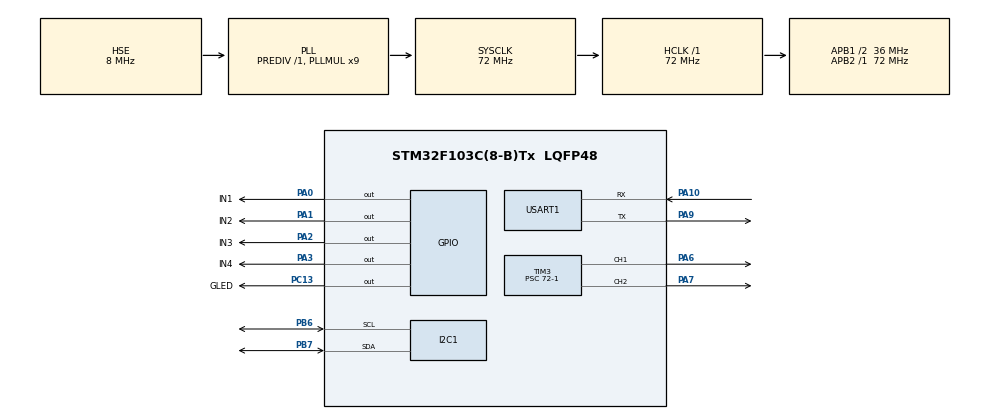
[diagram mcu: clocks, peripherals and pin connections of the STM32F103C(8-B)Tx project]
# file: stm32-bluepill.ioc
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Mcu.Family=STM32F1
Mcu.Name=STM32F103C(8-B)Tx
Mcu.Package=LQFP48
NVIC.PriorityGroup=NVIC_PRIORITYGROUP_4
NVIC.TIM4_IRQn=true\:0\:0\:false\:false\:true\:true\:true\:true
PA0-WKUP.GPIO_Label=IN1
PA0-WKUP.Signal=GPIO_Output
PA1.GPIO_Label=IN2
PA1.Signal=GPIO_Output
PA10.Mode=Asynchronous
PA10.Signal=USART1_RX
PA13.Mode=Serial_Wire
PA13.Signal=SYS_JTMS-SWDIO
PA14.Mode=Serial_Wire
PA14.Signal=SYS_JTCK-SWCLK
PA2.GPIO_Label=IN3
PA2.Signal=GPIO_Output
PA3.GPIO_Label=IN4
PA3.Signal=GPIO_Output
PA6.Signal=S_TIM3_CH1
PA7.Signal=S_TIM3_CH2
PA9.Mode=Asynchronous
PA9.Signal=USART1_TX
PB6.Mode=I2C
PB6.Signal=I2C1_SCL
PB7.Mode=I2C
PB7.Signal=I2C1_SDA
PC13-TAMPER-RTC.GPIO_Label=GLED
PC13-TAMPER-RTC.Signal=GPIO_Output
PD0-OSC_IN.Mode=HSE-External-Oscillator
PD0-OSC_IN.Signal=RCC_OSC_IN
PD1-OSC_OUT.Mode=HSE-External-Oscillator
PD1-OSC_OUT.Signal=RCC_OSC_OUT
ProjectManager.HeapSize=0x200
ProjectManager.StackSize=0x400
ProjectManager.TargetToolchain=MDK-ARM V5.32
RCC.AHBFreq_Value=72000000
RCC.APB1CLKDivider=RCC_HCLK_DIV2
RCC.APB1Freq_Value=36000000
RCC.APB1TimFreq_Value=72000000
RCC.APB2Freq_Value=72000000
RCC.APB2TimFreq_Value=72000000
RCC.HCLKFreq_Value=72000000
RCC.PLLMUL=RCC_PLL_MUL9
RCC.PLLSourceVirtual=RCC_PLLSOURCE_HSE
RCC.SYSCLKFreq_VALUE=72000000
RCC.SYSCLKSource=RCC_SYSCLKSOURCE_PLLCLK
RCC.USBFreq_Value=72000000
SH.S_TIM3_CH1.0=TIM3_CH1,PWM Generation1 CH1
SH.S_TIM3_CH2.0=TIM3_CH2,PWM Generation2 CH2
TIM3.Channel-PWM\ Generation1\ CH1=TIM_CHANNEL_1
TIM3.Channel-PWM\ Generation2\ CH2=TIM_CHANNEL_2
TIM3.Period=1000-1
TIM3.Prescaler=72-1
TIM4.Period=100-1
TIM4.Prescaler=7200-1
USART1.VirtualMode=VM_ASYNC
VP_TIM3_VS_ClockSourceINT.Mode=Internal
VP_TIM4_VS_ClockSourceINT.Mode=Internal
board=custom

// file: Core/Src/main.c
/* USER CODE BEGIN Header */
/**
  ******************************************************************************
  * @file           : main.c
  * @brief          : Main program body
  ******************************************************************************
  * @attention
  *
  * Copyright (c) 2026 STMicroelectronics.
  * All rights reserved.
  *
  * This software is licensed under terms that can be found in the LICENSE file
  * in the root directory of this software component.
  * If no LICENSE file comes with this software, it is provided AS-IS.
  *
  ******************************************************************************
  */
/* USER CODE END Header */
#include "main.h"

/* USER CODE BEGIN Includes */
#include "stdio.h"
#include "mpu6050.h"
#include "string.h"
#include "motor.h"
#include "math.h"
/* USER CODE END Includes */

/* USER CODE BEGIN PTD */

#define MAX_CONTROL_ANG			30.0f
#define SET_POINT						0.0f
#define MOTOR_LIMIT 				800
#define MAX_INTEGRAL				200.0f
#define PI 									3.14159265358979323846f

/* USER CODE END PTD */

I2C_HandleTypeDef hi2c1;

TIM_HandleTypeDef htim3;
TIM_HandleTypeDef htim4;

UART_HandleTypeDef huart1;

/* USER CODE BEGIN PV */

MPU6050_t mpu_data;
uint8_t f=0;
float dt = 0.01;

float error;
float u;
float Kp = 30.0f;
float Kd = 3.0;
float Ki = 5.0f;
float integral = 0.0f;

float Ku = 70.0f;
float omega_raw, omega_f;

float Kmpc[2] = {-16.4957, -2.0501};

float du, u_prev=0;
float Kmpc_aug[3] = {-9.8669, -1.8597, 0.8438};

float Kql[3] = {-46.1124,  -2.70406};
/* USER CODE END PV */

void SystemClock_Config(void);
static void MX_GPIO_Init(void);
static void MX_I2C1_Init(void);
static void MX_TIM3_Init(void);
static void MX_USART1_UART_Init(void);
static void MX_TIM4_Init(void);

/* USER CODE BEGIN 0 */

// printf Re-Director Beginsecffgty6
FILE __stdout;
int fputc(int ch, FILE *f){
	HAL_UART_Transmit(&huart1, (uint8_t *)&ch, 1, HAL_MAX_DELAY);
  return ch;
}
// printf Re-Director End

void HAL_TIM_PeriodElapsedCallback(TIM_HandleTypeDef *htim)
{
	if(htim->Instance == TIM4)
	{
		f = 1;
	}
}

/* USER CODE END 0 */

int main(void)
{

  /* MCU Configuration--------------------------------------------------------*/

  /* Reset of all peripherals, Initializes the Flash interface and the Systick. */
  HAL_Init();

  /* Configure the system clock */
  SystemClock_Config();

  /* Initialize all configured peripherals */
  MX_GPIO_Init();
  MX_I2C1_Init();
  MX_TIM3_Init();
  MX_USART1_UART_Init();
  MX_TIM4_Init();
  /* USER CODE BEGIN 2 */

	if(MPU6050_Init(&hi2c1))
	{
		HAL_GPIO_WritePin(GLED_GPIO_Port, GLED_Pin, GPIO_PIN_RESET);
		printf("MPU6050 Successfully Initialized!\r\n");
		HAL_Delay(1000);
		HAL_GPIO_WritePin(GLED_GPIO_Port, GLED_Pin, GPIO_PIN_SET);
		HAL_Delay(1000);
	}else
	{
		printf("MPU6050 Not Initialized!\r\n");
		Error_Handler();
	}
	HAL_Delay(100);

	HAL_GPIO_WritePin(GLED_GPIO_Port, GLED_Pin, GPIO_PIN_RESET);
	printf("Keep sensor still!... calibrating gyro!!\r\n");
	MPU6050_Calibrate_Gyro(&hi2c1, &mpu_data);
	printf("Gyro calibration completed!...Gx_Offset:%.2f\r\n", mpu_data.Gx_offset);

	MPU6050_Read_All(&hi2c1, &mpu_data);
	MPU6050_ComputePitch(&hi2c1, &mpu_data, dt);

	mpu_data.pitch = mpu_data.pitch_acc;
	printf("Inital Pitch:%.2f, Initial Pitch_Accel:%.2f, Gx:%.2f\r\n", mpu_data.pitch, mpu_data.pitch_acc, mpu_data.Gx);

	HAL_Delay(1000);
	HAL_GPIO_WritePin(GLED_GPIO_Port, GLED_Pin, GPIO_PIN_SET);
	HAL_Delay(1000);

	HAL_GPIO_WritePin(GLED_GPIO_Port, GLED_Pin, GPIO_PIN_RESET);
	printf("Keep sensor upright!...calibrating pitch!!\r\n");
	HAL_Delay(3000);
	MPU6050_Calculate_PitchOffset(&hi2c1, &mpu_data);
	printf("Pitch calibration comleted!...Pitch_Offset:%.2f\r\n", mpu_data.pitch_offset);

	HAL_GPIO_WritePin(GLED_GPIO_Port, GLED_Pin, GPIO_PIN_SET);

	HAL_TIM_Base_Start_IT(&htim4);
	Motor_Init();

//	// I2C Device Address Check Begin
//	for(uint8_t i = 1; i < 128; i++)
//		{
//				if(HAL_I2C_IsDeviceReady(&hi2c1, i << 1, 2, 100) == HAL_OK)
//				{
//						printf("Device found at 0x%02X\r\n", i);
//				}
//		}
//	// I2C Device Address Check End

	 uint8_t i = 0;
  /* USER CODE END 2 */

  /* Infinite loop */
  /* USER CODE BEGIN WHILE */
  while (1)
  {
		if(f)
		{
			f = 0;
			MPU6050_Read_All(&hi2c1, &mpu_data);

		//		printf("Ax:%.2f, Ay:%.2f, Az:%.2f, Gx:%.2f, Gy:%.2f, Gz:%.2f\r\n", mpu_data.Ax, mpu_data.Ay, mpu_data.Az,
		//						mpu_data.Gx, mpu_data.Gy, mpu_data.Gz);

			MPU6050_ComputePitch(&hi2c1, &mpu_data, dt);

			if(fabs(mpu_data.pitch) > 30.0f)
			{
				Motor_StopAll();
				u = 0;
				omega_raw = mpu_data.Gx * PI/180.0f;
			}else
			{
				error = (SET_POINT + mpu_data.pitch_offset) - (mpu_data.pitch);

				integral += error * dt;
				if(integral < -MAX_INTEGRAL) integral = -MAX_INTEGRAL;
				if(integral > MAX_INTEGRAL)  integral =  MAX_INTEGRAL;

				if(fabsf(error) < 1.5f)
				{
					Motor_StopAll();
					u = 0;
					omega_raw = mpu_data.Gx * PI/180.0f;
				}else
				{
//				// PID Controller
//					u = Kp * error
//					  + Kd * mpu_data.Gx
//					  + Ki * integral;

				 // LQR Controller
//					omega_raw = mpu_data.Gx * PI/180.0f;
//
//					u = Ku *(- 28.4811 * (((mpu_data.pitch-mpu_data.pitch_offset)*PI/180.0f))
//										+ 3.6417  * omega_raw);

					// MPC Controller
//					u =  Kmpc[0]*mpu_data.pitch
//						-  Kmpc[1]*mpu_data.Gx;

					// Augmented MPC Controller
//					du = -(Kmpc_aug[0] * mpu_data.pitch
//					   - Kmpc_aug[1] * mpu_data.Gx
//					   + Kmpc_aug[2] * u_prev);
//
//					u = -(du + u_prev);
//					u_prev = u;

					// Simple Q-Learning Controller
					u =  Kql[0]*mpu_data.pitch
						-  Kql[1]*mpu_data.Gx;

					if(u > MOTOR_LIMIT) u = MOTOR_LIMIT;
					if(u < -MOTOR_LIMIT) u = -MOTOR_LIMIT;

					Motor_SetLeft(-u);
					Motor_SetRight(-u);
				}
			}

			if(i==10)
			{
				i = 0;
//				printf("Pitch:%.2f, error:%.2f, integral:%.2f, u:%.2f\r\n", (mpu_data.pitch-mpu_data.pitch_offset), error, integral, u);
				printf("Pitch:%.2f, error:%.2f, Gx:%.2f, u:%.2f\r\n", (mpu_data.pitch-mpu_data.pitch_offset), error, mpu_data.Gx, u);
			}

			i++;
		}

    /* USER CODE END WHILE */

  }
}

void SystemClock_Config(void)
{
  RCC_OscInitTypeDef RCC_OscInitStruct = {0};
  RCC_ClkInitTypeDef RCC_ClkInitStruct = {0};

  /** Initializes the RCC Oscillators according to the specified parameters
  * in the RCC_OscInitTypeDef structure.
  */
  RCC_OscInitStruct.OscillatorType = RCC_OSCILLATORTYPE_HSE;
  RCC_OscInitStruct.HSEState = RCC_HSE_ON;
  RCC_OscInitStruct.HSEPredivValue = RCC_HSE_PREDIV_DIV1;
  RCC_OscInitStruct.HSIState = RCC_HSI_ON;
  RCC_OscInitStruct.PLL.PLLState = RCC_PLL_ON;
  RCC_OscInitStruct.PLL.PLLSource = RCC_PLLSOURCE_HSE;
  RCC_OscInitStruct.PLL.PLLMUL = RCC_PLL_MUL9;
  if (HAL_RCC_OscConfig(&RCC_OscInitStruct) != HAL_OK)
  {
    Error_Handler();
  }

  /** Initializes the CPU, AHB and APB buses clocks
  */
  RCC_ClkInitStruct.ClockType = RCC_CLOCKTYPE_HCLK|RCC_CLOCKTYPE_SYSCLK
                              |RCC_CLOCKTYPE_PCLK1|RCC_CLOCKTYPE_PCLK2;
  RCC_ClkInitStruct.SYSCLKSource = RCC_SYSCLKSOURCE_PLLCLK;
  RCC_ClkInitStruct.AHBCLKDivider = RCC_SYSCLK_DIV1;
  RCC_ClkInitStruct.APB1CLKDivider = RCC_HCLK_DIV2;
  RCC_ClkInitStruct.APB2CLKDivider = RCC_HCLK_DIV1;

  if (HAL_RCC_ClockConfig(&RCC_ClkInitStruct, FLASH_LATENCY_2) != HAL_OK)
  {
    Error_Handler();
  }
}

static void MX_I2C1_Init(void)
{

  hi2c1.Instance = I2C1;
  hi2c1.Init.ClockSpeed = 100000;
  hi2c1.Init.DutyCycle = I2C_DUTYCYCLE_2;
  hi2c1.Init.OwnAddress1 = 0;
  hi2c1.Init.AddressingMode = I2C_ADDRESSINGMODE_7BIT;
  hi2c1.Init.DualAddressMode = I2C_DUALADDRESS_DISABLE;
  hi2c1.Init.OwnAddress2 = 0;
  hi2c1.Init.GeneralCallMode = I2C_GENERALCALL_DISABLE;
  hi2c1.Init.NoStretchMode = I2C_NOSTRETCH_DISABLE;
  if (HAL_I2C_Init(&hi2c1) != HAL_OK)
  {
    Error_Handler();
  }

}

static void MX_TIM3_Init(void)
{

  TIM_ClockConfigTypeDef sClockSourceConfig = {0};
  TIM_MasterConfigTypeDef sMasterConfig = {0};
  TIM_OC_InitTypeDef sConfigOC = {0};

  htim3.Instance = TIM3;
  htim3.Init.Prescaler = 72-1;
  htim3.Init.CounterMode = TIM_COUNTERMODE_UP;
  htim3.Init.Period = 1000-1;
  htim3.Init.ClockDivision = TIM_CLOCKDIVISION_DIV1;
  htim3.Init.AutoReloadPreload = TIM_AUTORELOAD_PRELOAD_DISABLE;
  if (HAL_TIM_Base_Init(&htim3) != HAL_OK)
  {
    Error_Handler();
  }
  sClockSourceConfig.ClockSource = TIM_CLOCKSOURCE_INTERNAL;
  if (HAL_TIM_ConfigClockSource(&htim3, &sClockSourceConfig) != HAL_OK)
  {
    Error_Handler();
  }
  if (HAL_TIM_PWM_Init(&htim3) != HAL_OK)
  {
    Error_Handler();
  }
  sMasterConfig.MasterOutputTrigger = TIM_TRGO_RESET;
  sMasterConfig.MasterSlaveMode = TIM_MASTERSLAVEMODE_DISABLE;
  if (HAL_TIMEx_MasterConfigSynchronization(&htim3, &sMasterConfig) != HAL_OK)
  {
    Error_Handler();
  }
  sConfigOC.OCMode = TIM_OCMODE_PWM1;
  sConfigOC.Pulse = 0;
  sConfigOC.OCPolarity = TIM_OCPOLARITY_HIGH;
  sConfigOC.OCFastMode = TIM_OCFAST_DISABLE;
  if (HAL_TIM_PWM_ConfigChannel(&htim3, &sConfigOC, TIM_CHANNEL_1) != HAL_OK)
  {
    Error_Handler();
  }
  if (HAL_TIM_PWM_ConfigChannel(&htim3, &sConfigOC, TIM_CHANNEL_2) != HAL_OK)
  {
    Error_Handler();
  }
  HAL_TIM_MspPostInit(&htim3);

}

static void MX_TIM4_Init(void)
{

  TIM_ClockConfigTypeDef sClockSourceConfig = {0};
  TIM_MasterConfigTypeDef sMasterConfig = {0};

  htim4.Instance = TIM4;
  htim4.Init.Prescaler = 7200-1;
  htim4.Init.CounterMode = TIM_COUNTERMODE_UP;
  htim4.Init.Period = 100-1;
  htim4.Init.ClockDivision = TIM_CLOCKDIVISION_DIV1;
  htim4.Init.AutoReloadPreload = TIM_AUTORELOAD_PRELOAD_DISABLE;
  if (HAL_TIM_Base_Init(&htim4) != HAL_OK)
  {
    Error_Handler();
  }
  sClockSourceConfig.ClockSource = TIM_CLOCKSOURCE_INTERNAL;
  if (HAL_TIM_ConfigClockSource(&htim4, &sClockSourceConfig) != HAL_OK)
  {
    Error_Handler();
  }
  sMasterConfig.MasterOutputTrigger = TIM_TRGO_RESET;
  sMasterConfig.MasterSlaveMode = TIM_MASTERSLAVEMODE_DISABLE;
  if (HAL_TIMEx_MasterConfigSynchronization(&htim4, &sMasterConfig) != HAL_OK)
  {
    Error_Handler();
  }

}

static void MX_USART1_UART_Init(void)
{

  huart1.Instance = USART1;
  huart1.Init.BaudRate = 115200;
  huart1.Init.WordLength = UART_WORDLENGTH_8B;
  huart1.Init.StopBits = UART_STOPBITS_1;
  huart1.Init.Parity = UART_PARITY_NONE;
  huart1.Init.Mode = UART_MODE_TX_RX;
  huart1.Init.HwFlowCtl = UART_HWCONTROL_NONE;
  huart1.Init.OverSampling = UART_OVERSAMPLING_16;
  if (HAL_UART_Init(&huart1) != HAL_OK)
  {
    Error_Handler();
  }

}

static void MX_GPIO_Init(void)
{
  GPIO_InitTypeDef GPIO_InitStruct = {0};

  /* GPIO Ports Clock Enable */
  __HAL_RCC_GPIOC_CLK_ENABLE();
  __HAL_RCC_GPIOD_CLK_ENABLE();
  __HAL_RCC_GPIOA_CLK_ENABLE();
  __HAL_RCC_GPIOB_CLK_ENABLE();

  /*Configure GPIO pin Output Level */
  HAL_GPIO_WritePin(GLED_GPIO_Port, GLED_Pin, GPIO_PIN_RESET);

  /*Configure GPIO pin Output Level */
  HAL_GPIO_WritePin(GPIOA, IN1_Pin|IN2_Pin|IN3_Pin|IN4_Pin, GPIO_PIN_RESET);

  /*Configure GPIO pin : GLED_Pin */
  GPIO_InitStruct.Pin = GLED_Pin;
  GPIO_InitStruct.Mode = GPIO_MODE_OUTPUT_PP;
  GPIO_InitStruct.Pull = GPIO_NOPULL;
  GPIO_InitStruct.Speed = GPIO_SPEED_FREQ_LOW;
  HAL_GPIO_Init(GLED_GPIO_Port, &GPIO_InitStruct);

  /*Configure GPIO pins : IN1_Pin IN2_Pin IN3_Pin IN4_Pin */
  GPIO_InitStruct.Pin = IN1_Pin|IN2_Pin|IN3_Pin|IN4_Pin;
  GPIO_InitStruct.Mode = GPIO_MODE_OUTPUT_PP;
  GPIO_InitStruct.Pull = GPIO_NOPULL;
  GPIO_InitStruct.Speed = GPIO_SPEED_FREQ_LOW;
  HAL_GPIO_Init(GPIOA, &GPIO_InitStruct);

}

void Error_Handler(void)
{
  __disable_irq();
  while (1)
  {
  }
}
